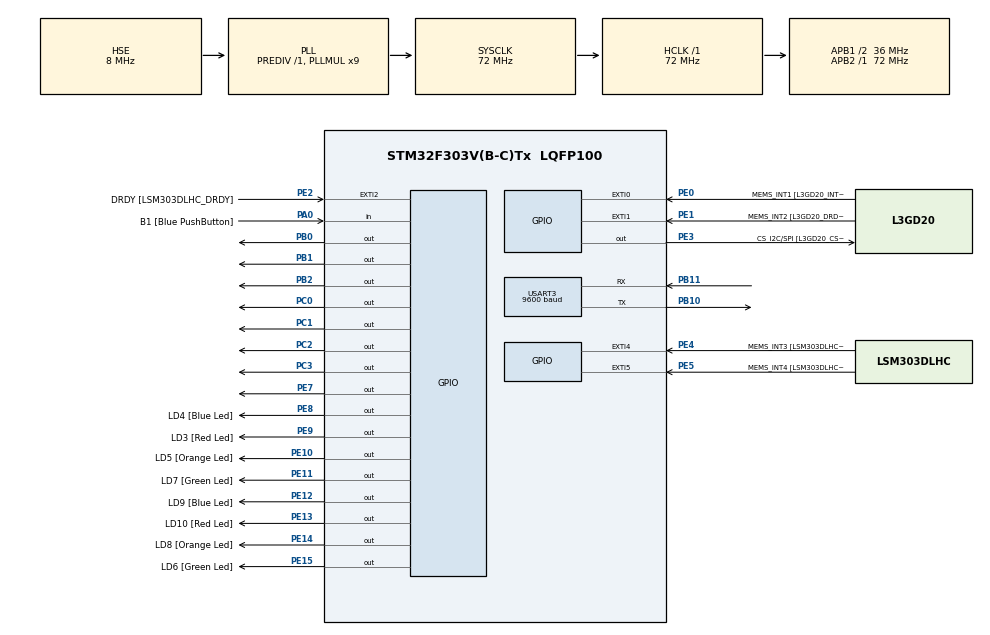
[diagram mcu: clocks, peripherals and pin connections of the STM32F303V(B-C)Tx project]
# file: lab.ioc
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Mcu.Family=STM32F3
Mcu.Name=STM32F303V(B-C)Tx
Mcu.Package=LQFP100
NVIC.PriorityGroup=NVIC_PRIORITYGROUP_0
NVIC.USART3_IRQn=true\:0\:0\:false\:false\:true\:true\:true
PA0.GPIO_Label=B1 [Blue PushButton]
PA0.GPIO_Mode=GPIO_MODE_INPUT
PA0.GPIO_PuPd=GPIO_NOPULL
PA0.Signal=GPIO_Input
PA11.GPIO_Label=DM
PA11.Signal=USB_DM
PA12.GPIO_Label=DP
PA12.Signal=USB_DP
PA13.GPIO_Label=SWDIO
PA13.Signal=SYS_JTMS-SWDIO
PA14.GPIO_Label=SWCLK
PA14.Signal=SYS_JTCK-SWCLK
PA5.GPIO_Label=SPI1_SCK [L3GD20_SCL/SPC]
PA5.GPIO_Mode=GPIO_MODE_AF_PP
PA5.GPIO_PuPd=GPIO_NOPULL
PA5.GPIO_Speed=GPIO_SPEED_FREQ_LOW
PA5.Signal=SPI1_SCK
PA6.GPIO_Label=SPI1_MISO [L3GD20_SA0/SDO]
PA6.GPIO_Mode=GPIO_MODE_AF_PP
PA6.GPIO_PuPd=GPIO_NOPULL
PA6.GPIO_Speed=GPIO_SPEED_FREQ_LOW
PA6.Signal=SPI1_MISO
PA7.GPIO_Label=SPI1_MISO [L3GD20_SDA/SDI/SDO]
PA7.GPIO_Mode=GPIO_MODE_AF_PP
PA7.GPIO_PuPd=GPIO_NOPULL
PA7.GPIO_Speed=GPIO_SPEED_FREQ_LOW
PA7.Signal=SPI1_MOSI
PB0.Signal=GPIO_Output
PB1.Signal=GPIO_Output
PB10.Mode=Asynchronous
PB10.Signal=USART3_TX
PB11.Mode=Asynchronous
PB11.Signal=USART3_RX
PB2.Signal=GPIO_Output
PB3.GPIO_Label=SWO
PB3.Signal=SYS_JTDO-TRACESWO
PB6.GPIO_FM6=__NULL
PB6.GPIO_Label=I2C1_SCL [LSM303DLHC_SCL]
PB6.GPIO_Mode=GPIO_MODE_AF_OD
PB6.GPIO_PuPd=GPIO_NOPULL
PB6.GPIO_Speed=GPIO_SPEED_FREQ_LOW
PB6.Signal=I2C1_SCL
PB7.GPIO_FM7=__NULL
PB7.GPIO_Label=I2C1_SDA [LSM303DLHC_SDA]
PB7.GPIO_Mode=GPIO_MODE_AF_OD
PB7.GPIO_PuPd=GPIO_NOPULL
PB7.GPIO_Speed=GPIO_SPEED_FREQ_LOW
PB7.Signal=I2C1_SDA
PC0.Signal=GPIO_Output
PC1.Signal=GPIO_Output
PC14-OSC32_IN.GPIO_Label=OSC32_IN
PC14-OSC32_IN.Signal=RCC_OSC32_IN
PC15-OSC32_OUT.GPIO_Label=OSC32_OUT
PC15-OSC32_OUT.Signal=RCC_OSC32_OUT
PC2.Signal=GPIO_Output
PC3.Signal=GPIO_Output
PE0.GPIO_Label=MEMS_INT1 [L3GD20_INT1]
PE0.GPIO_ModeDefaultEXTI=GPIO_MODE_EVT_RISING
PE0.GPIO_PuPd=GPIO_NOPULL
PE0.Signal=GPXTI0
PE1.GPIO_Label=MEMS_INT2 [L3GD20_DRDY/INT2]
PE1.GPIO_ModeDefaultEXTI=GPIO_MODE_EVT_RISING
PE1.GPIO_PuPd=GPIO_NOPULL
PE1.Signal=GPXTI1
PE10.GPIO_Label=LD5 [Orange Led]
PE10.GPIO_ModeDefaultOutputPP=GPIO_MODE_OUTPUT_PP
PE10.GPIO_PuPd=GPIO_NOPULL
PE10.GPIO_Speed=GPIO_SPEED_FREQ_LOW
PE10.Signal=GPIO_Output
PE11.GPIO_Label=LD7 [Green Led]
PE11.GPIO_ModeDefaultOutputPP=GPIO_MODE_OUTPUT_PP
PE11.GPIO_PuPd=GPIO_NOPULL
PE11.GPIO_Speed=GPIO_SPEED_FREQ_LOW
PE11.Signal=GPIO_Output
PE12.GPIO_Label=LD9 [Blue Led]
PE12.GPIO_ModeDefaultOutputPP=GPIO_MODE_OUTPUT_PP
PE12.GPIO_PuPd=GPIO_NOPULL
PE12.GPIO_Speed=GPIO_SPEED_FREQ_LOW
PE12.Signal=GPIO_Output
PE13.GPIO_Label=LD10 [Red Led]
PE13.GPIO_ModeDefaultOutputPP=GPIO_MODE_OUTPUT_PP
PE13.GPIO_PuPd=GPIO_NOPULL
PE13.GPIO_Speed=GPIO_SPEED_FREQ_LOW
PE13.Signal=GPIO_Output
PE14.GPIO_Label=LD8 [Orange Led]
PE14.GPIO_ModeDefaultOutputPP=GPIO_MODE_OUTPUT_PP
PE14.GPIO_PuPd=GPIO_NOPULL
PE14.GPIO_Speed=GPIO_SPEED_FREQ_LOW
PE14.Signal=GPIO_Output
PE15.GPIO_Label=LD6 [Green Led]
PE15.GPIO_ModeDefaultOutputPP=GPIO_MODE_OUTPUT_PP
PE15.GPIO_PuPd=GPIO_NOPULL
PE15.GPIO_Speed=GPIO_SPEED_FREQ_LOW
PE15.Signal=GPIO_Output
PE2.GPIO_Label=DRDY [LSM303DLHC_DRDY]
PE2.GPIO_ModeDefaultEXTI=GPIO_MODE_EVT_RISING
PE2.GPIO_PuPd=GPIO_NOPULL
PE2.Signal=GPXTI2
PE3.GPIO_Label=CS_I2C/SPI [L3GD20_CS_I2C/SPI]
PE3.GPIO_ModeDefaultOutputPP=GPIO_MODE_OUTPUT_PP
PE3.GPIO_PuPd=GPIO_NOPULL
PE3.GPIO_Speed=GPIO_SPEED_FREQ_LOW
PE3.Signal=GPIO_Output
PE4.GPIO_Label=MEMS_INT3 [LSM303DLHC_INT1]
PE4.GPIO_ModeDefaultEXTI=GPIO_MODE_EVT_RISING
PE4.GPIO_PuPd=GPIO_NOPULL
PE4.Signal=GPXTI4
PE5.GPIO_Label=MEMS_INT4 [LSM303DLHC_INT2]
PE5.GPIO_ModeDefaultEXTI=GPIO_MODE_EVT_RISING
PE5.GPIO_PuPd=GPIO_NOPULL
PE5.Signal=GPXTI5
PE7.Signal=GPIO_Output
PE8.GPIO_Label=LD4 [Blue Led]
PE8.GPIO_ModeDefaultOutputPP=GPIO_MODE_OUTPUT_PP
PE8.GPIO_PuPd=GPIO_NOPULL
PE8.GPIO_Speed=GPIO_SPEED_FREQ_LOW
PE8.Signal=GPIO_Output
PE9.GPIO_Label=LD3 [Red Led]
PE9.GPIO_ModeDefaultOutputPP=GPIO_MODE_OUTPUT_PP
PE9.GPIO_PuPd=GPIO_NOPULL
PE9.GPIO_Speed=GPIO_SPEED_FREQ_LOW
PE9.Signal=GPIO_Output
PF0-OSC_IN.GPIO_Label=OSC_IN
PF0-OSC_IN.Mode=HSE-External-Clock-Source
PF0-OSC_IN.Signal=RCC_OSC_IN
PF1-OSC_OUT.GPIO_Label=OSC_OUT
PF1-OSC_OUT.Signal=RCC_OSC_OUT
ProjectManager.HeapSize=0x200
ProjectManager.StackSize=0x400
ProjectManager.TargetToolchain=MDK-ARM V5
RCC.AHBFreq_Value=72000000
RCC.APB1CLKDivider=RCC_HCLK_DIV2
RCC.APB1Freq_Value=36000000
RCC.APB1TimFreq_Value=72000000
RCC.APB2Freq_Value=72000000
RCC.APB2TimFreq_Value=72000000
RCC.CortexFreq_Value=72000000
RCC.HCLKFreq_Value=72000000
RCC.HSE_VALUE=8000000
RCC.HSI_VALUE=8000000
RCC.LSE_VALUE=32768
RCC.PLLMUL=RCC_PLL_MUL9
RCC.PLLSourceVirtual=RCC_PLLSOURCE_HSE
RCC.SYSCLKFreq_VALUE=72000000
RCC.SYSCLKSourceVirtual=RCC_SYSCLKSOURCE_PLLCLK
RCC.USBFreq_Value=72000000
USART3.BaudRate=9600
USART3.VirtualMode-Asynchronous=VM_ASYNC
board=STM32F3DISCOVERY

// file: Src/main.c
/* USER CODE BEGIN Header */
/**
  ******************************************************************************
  * @file           : main.c
  * @brief          : Main program body
  ******************************************************************************
  * @attention
  *
  * <h2><center>&copy; Copyright (c) 2019 STMicroelectronics.
  * All rights reserved.</center></h2>
  *
  * This software component is licensed by ST under BSD 3-Clause license,
  * the "License"; You may not use this file except in compliance with the
  * License. You may obtain a copy of the License at:
  *                        opensource.org/licenses/BSD-3-Clause
  *
  ******************************************************************************
  */
/* USER CODE END Header */

#include "main.h"

/* USER CODE BEGIN Includes */
#include "koibitoex_lcd2.h"
void LedWriteCircle(uint8_t pos);
/* USER CODE END Includes */

UART_HandleTypeDef huart3;

void SystemClock_Config(void);
static void MX_GPIO_Init(void);
static void MX_USART3_UART_Init(void);

/* USER CODE BEGIN 0 */
#define LED_PORT GPIOE

#define LED_0 GPIO_PIN_8
#define LED_1 GPIO_PIN_9
#define LED_2 GPIO_PIN_10
#define LED_3 GPIO_PIN_11
#define LED_4 GPIO_PIN_12
#define LED_5 GPIO_PIN_13
#define LED_6 GPIO_PIN_14
#define LED_7 GPIO_PIN_15

#define SET GPIO_PIN_SET
#define RESET GPIO_PIN_RESET

uint8_t txCount;
uint8_t rxCount;

uint8_t ch;
uint8_t rxBuffer[100];
uint8_t rxBufferIdx;
uint8_t post = 7;
uint8_t count = 0;
/* USER CODE END 0 */

int main(void)
{

  /* MCU Configuration--------------------------------------------------------*/

  /* Reset of all peripherals, Initializes the Flash interface and the Systick. */
  HAL_Init();

  /* Configure the system clock */
  SystemClock_Config();

  /* Initialize all configured peripherals */
  MX_GPIO_Init();
  MX_USART3_UART_Init();
  /* USER CODE BEGIN 2 */
	LcdInit();
	LcdCls(LCD_CLS_ALL);
	LcdSetCursor(LCD_CURSOR_OFF);
	LcdSetPosition(LCD_LINE_1,0);
	LcdPutS("CHAIWIT");
	LcdSetPosition(LCD_LINE_2,0);
	LcdPutS("5911110222");

	HAL_UART_Receive_IT(&huart3, &ch,1);

  /* USER CODE END 2 */

  /* Infinite loop */
  while (1)
  {
			LedWriteCircle(post%8);
			post++;
			HAL_Delay(200);
  }
}

void SystemClock_Config(void)
{
  RCC_OscInitTypeDef RCC_OscInitStruct = {0};
  RCC_ClkInitTypeDef RCC_ClkInitStruct = {0};
  RCC_PeriphCLKInitTypeDef PeriphClkInit = {0};

  /** Initializes the CPU, AHB and APB busses clocks
  */
  RCC_OscInitStruct.OscillatorType = RCC_OSCILLATORTYPE_HSE;
  RCC_OscInitStruct.HSEState = RCC_HSE_BYPASS;
  RCC_OscInitStruct.HSEPredivValue = RCC_HSE_PREDIV_DIV1;
  RCC_OscInitStruct.HSIState = RCC_HSI_ON;
  RCC_OscInitStruct.PLL.PLLState = RCC_PLL_ON;
  RCC_OscInitStruct.PLL.PLLSource = RCC_PLLSOURCE_HSE;
  RCC_OscInitStruct.PLL.PLLMUL = RCC_PLL_MUL9;
  if (HAL_RCC_OscConfig(&RCC_OscInitStruct) != HAL_OK)
  {
    Error_Handler();
  }
  /** Initializes the CPU, AHB and APB busses clocks
  */
  RCC_ClkInitStruct.ClockType = RCC_CLOCKTYPE_HCLK|RCC_CLOCKTYPE_SYSCLK
                              |RCC_CLOCKTYPE_PCLK1|RCC_CLOCKTYPE_PCLK2;
  RCC_ClkInitStruct.SYSCLKSource = RCC_SYSCLKSOURCE_PLLCLK;
  RCC_ClkInitStruct.AHBCLKDivider = RCC_SYSCLK_DIV1;
  RCC_ClkInitStruct.APB1CLKDivider = RCC_HCLK_DIV2;
  RCC_ClkInitStruct.APB2CLKDivider = RCC_HCLK_DIV1;

  if (HAL_RCC_ClockConfig(&RCC_ClkInitStruct, FLASH_LATENCY_2) != HAL_OK)
  {
    Error_Handler();
  }
  PeriphClkInit.PeriphClockSelection = RCC_PERIPHCLK_USART3;
  PeriphClkInit.Usart3ClockSelection = RCC_USART3CLKSOURCE_PCLK1;
  if (HAL_RCCEx_PeriphCLKConfig(&PeriphClkInit) != HAL_OK)
  {
    Error_Handler();
  }
}

static void MX_USART3_UART_Init(void)
{

  huart3.Instance = USART3;
  huart3.Init.BaudRate = 9600;
  huart3.Init.WordLength = UART_WORDLENGTH_8B;
  huart3.Init.StopBits = UART_STOPBITS_1;
  huart3.Init.Parity = UART_PARITY_NONE;
  huart3.Init.Mode = UART_MODE_TX_RX;
  huart3.Init.HwFlowCtl = UART_HWCONTROL_NONE;
  huart3.Init.OverSampling = UART_OVERSAMPLING_16;
  huart3.Init.OneBitSampling = UART_ONE_BIT_SAMPLE_DISABLE;
  huart3.AdvancedInit.AdvFeatureInit = UART_ADVFEATURE_NO_INIT;
  if (HAL_UART_Init(&huart3) != HAL_OK)
  {
    Error_Handler();
  }

}

static void MX_GPIO_Init(void)
{
  GPIO_InitTypeDef GPIO_InitStruct = {0};

  /* GPIO Ports Clock Enable */
  __HAL_RCC_GPIOE_CLK_ENABLE();
  __HAL_RCC_GPIOC_CLK_ENABLE();
  __HAL_RCC_GPIOF_CLK_ENABLE();
  __HAL_RCC_GPIOA_CLK_ENABLE();
  __HAL_RCC_GPIOB_CLK_ENABLE();

  /*Configure GPIO pin Output Level */
  HAL_GPIO_WritePin(GPIOE, CS_I2C_SPI_Pin|GPIO_PIN_7|LD4_Pin|LD3_Pin
                          |LD5_Pin|LD7_Pin|LD9_Pin|LD10_Pin
                          |LD8_Pin|LD6_Pin, GPIO_PIN_RESET);

  /*Configure GPIO pin Output Level */
  HAL_GPIO_WritePin(GPIOC, GPIO_PIN_0|GPIO_PIN_1|GPIO_PIN_2|GPIO_PIN_3, GPIO_PIN_RESET);

  /*Configure GPIO pin Output Level */
  HAL_GPIO_WritePin(GPIOB, GPIO_PIN_0|GPIO_PIN_1|GPIO_PIN_2, GPIO_PIN_RESET);

  /*Configure GPIO pins : DRDY_Pin MEMS_INT3_Pin MEMS_INT4_Pin MEMS_INT1_Pin
                           MEMS_INT2_Pin */
  GPIO_InitStruct.Pin = DRDY_Pin|MEMS_INT3_Pin|MEMS_INT4_Pin|MEMS_INT1_Pin
                          |MEMS_INT2_Pin;
  GPIO_InitStruct.Mode = GPIO_MODE_EVT_RISING;
  GPIO_InitStruct.Pull = GPIO_NOPULL;
  HAL_GPIO_Init(GPIOE, &GPIO_InitStruct);

  /*Configure GPIO pins : CS_I2C_SPI_Pin PE7 LD4_Pin LD3_Pin
                           LD5_Pin LD7_Pin LD9_Pin LD10_Pin
                           LD8_Pin LD6_Pin */
  GPIO_InitStruct.Pin = CS_I2C_SPI_Pin|GPIO_PIN_7|LD4_Pin|LD3_Pin
                          |LD5_Pin|LD7_Pin|LD9_Pin|LD10_Pin
                          |LD8_Pin|LD6_Pin;
  GPIO_InitStruct.Mode = GPIO_MODE_OUTPUT_PP;
  GPIO_InitStruct.Pull = GPIO_NOPULL;
  GPIO_InitStruct.Speed = GPIO_SPEED_FREQ_LOW;
  HAL_GPIO_Init(GPIOE, &GPIO_InitStruct);

  /*Configure GPIO pins : PC0 PC1 PC2 PC3 */
  GPIO_InitStruct.Pin = GPIO_PIN_0|GPIO_PIN_1|GPIO_PIN_2|GPIO_PIN_3;
  GPIO_InitStruct.Mode = GPIO_MODE_OUTPUT_PP;
  GPIO_InitStruct.Pull = GPIO_NOPULL;
  GPIO_InitStruct.Speed = GPIO_SPEED_FREQ_LOW;
  HAL_GPIO_Init(GPIOC, &GPIO_InitStruct);

  /*Configure GPIO pin : B1_Pin */
  GPIO_InitStruct.Pin = B1_Pin;
  GPIO_InitStruct.Mode = GPIO_MODE_INPUT;
  GPIO_InitStruct.Pull = GPIO_NOPULL;
  HAL_GPIO_Init(B1_GPIO_Port, &GPIO_InitStruct);

  /*Configure GPIO pins : SPI1_SCK_Pin SPI1_MISO_Pin SPI1_MISOA7_Pin */
  GPIO_InitStruct.Pin = SPI1_SCK_Pin|SPI1_MISO_Pin|SPI1_MISOA7_Pin;
  GPIO_InitStruct.Mode = GPIO_MODE_AF_PP;
  GPIO_InitStruct.Pull = GPIO_NOPULL;
  GPIO_InitStruct.Speed = GPIO_SPEED_FREQ_LOW;
  GPIO_InitStruct.Alternate = GPIO_AF5_SPI1;
  HAL_GPIO_Init(GPIOA, &GPIO_InitStruct);

  /*Configure GPIO pins : PB0 PB1 PB2 */
  GPIO_InitStruct.Pin = GPIO_PIN_0|GPIO_PIN_1|GPIO_PIN_2;
  GPIO_InitStruct.Mode = GPIO_MODE_OUTPUT_PP;
  GPIO_InitStruct.Pull = GPIO_NOPULL;
  GPIO_InitStruct.Speed = GPIO_SPEED_FREQ_LOW;
  HAL_GPIO_Init(GPIOB, &GPIO_InitStruct);

  /*Configure GPIO pins : DM_Pin DP_Pin */
  GPIO_InitStruct.Pin = DM_Pin|DP_Pin;
  GPIO_InitStruct.Mode = GPIO_MODE_AF_PP;
  GPIO_InitStruct.Pull = GPIO_NOPULL;
  GPIO_InitStruct.Speed = GPIO_SPEED_FREQ_HIGH;
  GPIO_InitStruct.Alternate = GPIO_AF14_USB;
  HAL_GPIO_Init(GPIOA, &GPIO_InitStruct);

  /*Configure GPIO pins : I2C1_SCL_Pin I2C1_SDA_Pin */
  GPIO_InitStruct.Pin = I2C1_SCL_Pin|I2C1_SDA_Pin;
  GPIO_InitStruct.Mode = GPIO_MODE_AF_OD;
  GPIO_InitStruct.Pull = GPIO_PULLUP;
  GPIO_InitStruct.Speed = GPIO_SPEED_FREQ_LOW;
  GPIO_InitStruct.Alternate = GPIO_AF4_I2C1;
  HAL_GPIO_Init(GPIOB, &GPIO_InitStruct);

}

/* USER CODE BEGIN 4 */
void LedWriteCircle(uint8_t pos){
	HAL_GPIO_WritePin(LED_PORT,LED_0,(pos == 0)? SET : RESET);
	HAL_GPIO_WritePin(LED_PORT,LED_1,(pos == 1)? SET : RESET);
	HAL_GPIO_WritePin(LED_PORT,LED_2,(pos == 2)? SET : RESET);
	HAL_GPIO_WritePin(LED_PORT,LED_3,(pos == 3)? SET : RESET);
	HAL_GPIO_WritePin(LED_PORT,LED_4,(pos == 4)? SET : RESET);
	HAL_GPIO_WritePin(LED_PORT,LED_5,(pos == 5)? SET : RESET);
	HAL_GPIO_WritePin(LED_PORT,LED_6,(pos == 6)? SET : RESET);
	HAL_GPIO_WritePin(LED_PORT,LED_7,(pos == 7)? SET : RESET);
}
/* USER CODE END 4 */

void Error_Handler(void)
{
}

/************************ (C) COPYRIGHT STMicroelectronics *****END OF FILE****/
